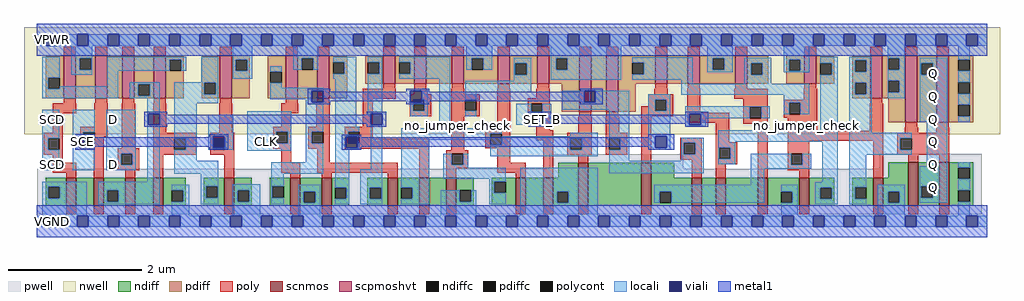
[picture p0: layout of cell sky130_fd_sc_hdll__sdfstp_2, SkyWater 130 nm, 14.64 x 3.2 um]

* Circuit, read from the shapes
.subckt sky130_fd_sc_hdll__sdfstp_2 CLK D SCD SCE SET_B VGND VNB VPB VPWR Q
XM1 n1 SCD VGND VNB sky130_fd_pr__nfet_01v8 w=0.42 l=0.15
XM2 n2 SCE n1 VNB sky130_fd_pr__nfet_01v8 w=0.42 l=0.15
XM3 n3 D n2 VNB sky130_fd_pr__nfet_01v8 w=0.42 l=0.15
XM4 VGND n4 n3 VNB sky130_fd_pr__nfet_01v8 w=0.42 l=0.15
XM5 VGND SCE n4 VNB sky130_fd_pr__nfet_01v8 w=0.42 l=0.15
XM6 VGND CLK n5 VNB sky130_fd_pr__nfet_01v8 w=0.42 l=0.15
XM7 n6 n5 VGND VNB sky130_fd_pr__nfet_01v8 w=0.42 l=0.15
XM8 n7 n5 n2 VNB sky130_fd_pr__nfet_01v8 w=0.42 l=0.15
XM9 n8 n6 n7 VNB sky130_fd_pr__nfet_01v8 w=0.42 l=0.15
XM10 VGND n9 n8 VNB sky130_fd_pr__nfet_01v8 w=0.42 l=0.15
XM11 n10 n7 n9 VNB sky130_fd_pr__nfet_01v8 w=0.42 l=0.15
XM12 VGND SET_B n10 VNB sky130_fd_pr__nfet_01v8 w=0.42 l=0.15
XM13 n11 n7 VGND VNB sky130_fd_pr__nfet_01v8 w=0.64 l=0.15
XM14 n12 n6 n11 VNB sky130_fd_pr__nfet_01v8 w=0.64 l=0.15
XM15 n13 n5 n12 VNB sky130_fd_pr__nfet_01v8 w=0.42 l=0.15
XM16 n14 n15 n13 VNB sky130_fd_pr__nfet_01v8 w=0.42 l=0.15
XM17 VGND SET_B n14 VNB sky130_fd_pr__nfet_01v8 w=0.42 l=0.15
XM18 n15 n12 VGND VNB sky130_fd_pr__nfet_01v8 w=0.42 l=0.15
XM19 VGND n12 n16 VNB sky130_fd_pr__nfet_01v8 w=0.42 l=0.15
XM20 Q n16 VGND VNB sky130_fd_pr__nfet_01v8 w=0.65 l=0.15 m=2
XM21 VPWR SCD n17 VPB sky130_fd_pr__pfet_01v8_hvt w=0.64 l=0.18
XM22 n18 SCE VPWR VPB sky130_fd_pr__pfet_01v8_hvt w=0.64 l=0.18
XM23 n2 D n18 VPB sky130_fd_pr__pfet_01v8_hvt w=0.64 l=0.18
XM24 n17 n4 n2 VPB sky130_fd_pr__pfet_01v8_hvt w=0.64 l=0.18
XM25 VPWR SCE n4 VPB sky130_fd_pr__pfet_01v8_hvt w=0.64 l=0.18
XM26 VPWR CLK n5 VPB sky130_fd_pr__pfet_01v8_hvt w=0.64 l=0.18
XM27 n6 n5 VPWR VPB sky130_fd_pr__pfet_01v8_hvt w=0.64 l=0.18
XM28 n7 n6 n2 VPB sky130_fd_pr__pfet_01v8_hvt w=0.42 l=0.18
XM29 n19 n5 n7 VPB sky130_fd_pr__pfet_01v8_hvt w=0.42 l=0.18
XM30 VPWR n9 n19 VPB sky130_fd_pr__pfet_01v8_hvt w=0.42 l=0.18
XM31 n9 n7 VPWR VPB sky130_fd_pr__pfet_01v8_hvt w=0.42 l=0.18
XM32 VPWR SET_B n9 VPB sky130_fd_pr__pfet_01v8_hvt w=0.42 l=0.18
XM33 n20 n7 VPWR VPB sky130_fd_pr__pfet_01v8_hvt w=0.84 l=0.18
XM34 n12 n5 n20 VPB sky130_fd_pr__pfet_01v8_hvt w=0.84 l=0.18
XM35 n21 n6 n12 VPB sky130_fd_pr__pfet_01v8_hvt w=0.42 l=0.18
XM36 VPWR n15 n21 VPB sky130_fd_pr__pfet_01v8_hvt w=0.42 l=0.18
XM37 n12 SET_B VPWR VPB sky130_fd_pr__pfet_01v8_hvt w=0.42 l=0.18
XM38 n15 n12 VPWR VPB sky130_fd_pr__pfet_01v8_hvt w=0.42 l=0.18
XM39 VPWR n12 n16 VPB sky130_fd_pr__pfet_01v8_hvt w=0.64 l=0.18
XM40 Q n16 VPWR VPB sky130_fd_pr__pfet_01v8_hvt w=1 l=0.18 m=2
.ends

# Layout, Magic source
magic
tech sky130A
magscale 1 2
<< nwell >>
rect -38 261 2890 582
<< pwell >>
rect 1538 157 1939 201
rect 2528 157 2835 203
rect 1 21 2835 157
rect 29 -17 63 21
<< scnmos >>
rect 89 47 119 131
rect 171 47 201 131
rect 265 47 295 131
rect 349 47 379 131
rect 563 47 593 131
rect 761 47 791 131
rect 855 47 885 131
rect 1053 47 1083 131
rect 1147 47 1177 131
rect 1229 47 1259 131
rect 1437 47 1467 131
rect 1519 47 1549 131
rect 1624 47 1654 175
rect 1813 47 1843 175
rect 1965 47 1995 131
rect 2037 47 2067 131
rect 2163 47 2193 131
rect 2287 47 2317 131
rect 2509 47 2539 131
rect 2614 47 2644 177
rect 2708 47 2738 177
<< scpmoshvt >>
rect 81 369 117 497
rect 175 369 211 497
rect 257 369 293 497
rect 351 369 387 497
rect 549 369 585 497
rect 747 369 783 497
rect 841 369 877 497
rect 1039 413 1075 497
rect 1133 413 1169 497
rect 1245 413 1281 497
rect 1383 413 1419 497
rect 1501 413 1537 497
rect 1627 329 1663 497
rect 1709 329 1745 497
rect 1855 413 1891 497
rect 1953 413 1989 497
rect 2095 413 2131 497
rect 2303 413 2339 497
rect 2501 369 2537 497
rect 2606 297 2642 497
rect 2700 297 2736 497
<< ndiff >>
rect 1564 131 1624 175
rect 27 103 89 131
rect 27 69 35 103
rect 69 69 89 103
rect 27 47 89 69
rect 119 47 171 131
rect 201 93 265 131
rect 201 59 211 93
rect 245 59 265 93
rect 201 47 265 59
rect 295 47 349 131
rect 379 93 447 131
rect 379 59 405 93
rect 439 59 447 93
rect 379 47 447 59
rect 501 105 563 131
rect 501 71 509 105
rect 543 71 563 105
rect 501 47 563 71
rect 593 93 645 131
rect 593 59 603 93
rect 637 59 645 93
rect 593 47 645 59
rect 699 105 761 131
rect 699 71 707 105
rect 741 71 761 105
rect 699 47 761 71
rect 791 89 855 131
rect 791 55 801 89
rect 835 55 855 89
rect 791 47 855 55
rect 885 101 937 131
rect 885 67 895 101
rect 929 67 937 101
rect 885 47 937 67
rect 991 101 1053 131
rect 991 67 999 101
rect 1033 67 1053 101
rect 991 47 1053 67
rect 1083 101 1147 131
rect 1083 67 1093 101
rect 1127 67 1147 101
rect 1083 47 1147 67
rect 1177 47 1229 131
rect 1259 93 1311 131
rect 1259 59 1269 93
rect 1303 59 1311 93
rect 1259 47 1311 59
rect 1365 119 1437 131
rect 1365 85 1373 119
rect 1407 85 1437 119
rect 1365 47 1437 85
rect 1467 47 1519 131
rect 1549 89 1624 131
rect 1549 55 1561 89
rect 1595 55 1624 89
rect 1549 47 1624 55
rect 1654 47 1813 175
rect 1843 131 1913 175
rect 2554 131 2614 177
rect 1843 89 1965 131
rect 1843 55 1869 89
rect 1903 55 1965 89
rect 1843 47 1965 55
rect 1995 47 2037 131
rect 2067 47 2163 131
rect 2193 89 2287 131
rect 2193 55 2233 89
rect 2267 55 2287 89
rect 2193 47 2287 55
rect 2317 101 2393 131
rect 2317 67 2351 101
rect 2385 67 2393 101
rect 2317 47 2393 67
rect 2447 102 2509 131
rect 2447 68 2455 102
rect 2489 68 2509 102
rect 2447 47 2509 68
rect 2539 89 2614 131
rect 2539 55 2554 89
rect 2588 55 2614 89
rect 2539 47 2614 55
rect 2644 105 2708 177
rect 2644 71 2654 105
rect 2688 71 2708 105
rect 2644 47 2708 71
rect 2738 161 2809 177
rect 2738 127 2765 161
rect 2799 127 2809 161
rect 2738 93 2809 127
rect 2738 59 2765 93
rect 2799 59 2809 93
rect 2738 47 2809 59
<< pdiff >>
rect 27 431 81 497
rect 27 397 35 431
rect 69 397 81 431
rect 27 369 81 397
rect 117 489 175 497
rect 117 455 129 489
rect 163 455 175 489
rect 117 369 175 455
rect 211 369 257 497
rect 293 411 351 497
rect 293 377 305 411
rect 339 377 351 411
rect 293 369 351 377
rect 387 485 441 497
rect 387 451 399 485
rect 433 451 441 485
rect 387 369 441 451
rect 495 415 549 497
rect 495 381 503 415
rect 537 381 549 415
rect 495 369 549 381
rect 585 485 639 497
rect 585 451 597 485
rect 631 451 639 485
rect 585 369 639 451
rect 693 449 747 497
rect 693 415 701 449
rect 735 415 747 449
rect 693 369 747 415
rect 783 489 841 497
rect 783 455 795 489
rect 829 455 841 489
rect 783 369 841 455
rect 877 477 931 497
rect 877 443 889 477
rect 923 443 931 477
rect 877 369 931 443
rect 985 477 1039 497
rect 985 443 993 477
rect 1027 443 1039 477
rect 985 413 1039 443
rect 1075 477 1133 497
rect 1075 443 1087 477
rect 1121 443 1133 477
rect 1075 413 1133 443
rect 1169 413 1245 497
rect 1281 489 1383 497
rect 1281 455 1305 489
rect 1339 455 1383 489
rect 1281 413 1383 455
rect 1419 474 1501 497
rect 1419 440 1436 474
rect 1470 440 1501 474
rect 1419 413 1501 440
rect 1537 489 1627 497
rect 1537 455 1558 489
rect 1592 455 1627 489
rect 1537 413 1627 455
rect 1575 329 1627 413
rect 1663 329 1709 497
rect 1745 475 1855 497
rect 1745 441 1787 475
rect 1821 441 1855 475
rect 1745 413 1855 441
rect 1891 413 1953 497
rect 1989 489 2095 497
rect 1989 455 2028 489
rect 2062 455 2095 489
rect 1989 413 2095 455
rect 2131 474 2195 497
rect 2131 440 2143 474
rect 2177 440 2195 474
rect 2131 413 2195 440
rect 2249 485 2303 497
rect 2249 451 2257 485
rect 2291 451 2303 485
rect 2249 413 2303 451
rect 2339 474 2393 497
rect 2339 440 2351 474
rect 2385 440 2393 474
rect 2339 413 2393 440
rect 2447 483 2501 497
rect 2447 449 2455 483
rect 2489 449 2501 483
rect 2447 415 2501 449
rect 1745 329 1797 413
rect 2447 381 2455 415
rect 2489 381 2501 415
rect 2447 369 2501 381
rect 2537 489 2606 497
rect 2537 455 2554 489
rect 2588 455 2606 489
rect 2537 421 2606 455
rect 2537 387 2554 421
rect 2588 387 2606 421
rect 2537 369 2606 387
rect 2554 297 2606 369
rect 2642 474 2700 497
rect 2642 440 2654 474
rect 2688 440 2700 474
rect 2642 297 2700 440
rect 2736 485 2809 497
rect 2736 451 2765 485
rect 2799 451 2809 485
rect 2736 417 2809 451
rect 2736 383 2765 417
rect 2799 383 2809 417
rect 2736 349 2809 383
rect 2736 315 2765 349
rect 2799 315 2809 349
rect 2736 297 2809 315
<< ndiffc >>
rect 35 69 69 103
rect 211 59 245 93
rect 405 59 439 93
rect 509 71 543 105
rect 603 59 637 93
rect 707 71 741 105
rect 801 55 835 89
rect 895 67 929 101
rect 999 67 1033 101
rect 1093 67 1127 101
rect 1269 59 1303 93
rect 1373 85 1407 119
rect 1561 55 1595 89
rect 1869 55 1903 89
rect 2233 55 2267 89
rect 2351 67 2385 101
rect 2455 68 2489 102
rect 2554 55 2588 89
rect 2654 71 2688 105
rect 2765 127 2799 161
rect 2765 59 2799 93
<< pdiffc >>
rect 35 397 69 431
rect 129 455 163 489
rect 305 377 339 411
rect 399 451 433 485
rect 503 381 537 415
rect 597 451 631 485
rect 701 415 735 449
rect 795 455 829 489
rect 889 443 923 477
rect 993 443 1027 477
rect 1087 443 1121 477
rect 1305 455 1339 489
rect 1436 440 1470 474
rect 1558 455 1592 489
rect 1787 441 1821 475
rect 2028 455 2062 489
rect 2143 440 2177 474
rect 2257 451 2291 485
rect 2351 440 2385 474
rect 2455 449 2489 483
rect 2455 381 2489 415
rect 2554 455 2588 489
rect 2554 387 2588 421
rect 2654 440 2688 474
rect 2765 451 2799 485
rect 2765 383 2799 417
rect 2765 315 2799 349
<< poly >>
rect 81 497 117 523
rect 175 497 211 523
rect 257 497 293 523
rect 351 497 387 523
rect 549 497 585 523
rect 747 497 783 523
rect 841 497 877 523
rect 1039 497 1075 523
rect 1133 497 1169 523
rect 1245 497 1281 523
rect 1383 497 1419 523
rect 1501 497 1537 523
rect 1627 497 1663 523
rect 1709 497 1745 523
rect 1855 497 1891 523
rect 1953 497 1989 523
rect 2095 497 2131 523
rect 2303 497 2339 523
rect 2501 497 2537 523
rect 2606 497 2642 523
rect 2700 497 2736 523
rect 1039 398 1075 413
rect 1133 398 1169 413
rect 1245 398 1281 413
rect 1383 398 1419 413
rect 1501 398 1537 413
rect 81 354 117 369
rect 175 354 211 369
rect 257 354 293 369
rect 351 354 387 369
rect 549 354 585 369
rect 747 354 783 369
rect 841 354 877 369
rect 978 368 1077 398
rect 1131 381 1171 398
rect 1243 381 1283 398
rect 48 324 119 354
rect 48 265 78 324
rect 173 283 213 354
rect 21 249 78 265
rect 21 215 34 249
rect 68 215 78 249
rect 130 267 213 283
rect 130 233 140 267
rect 174 253 213 267
rect 174 233 201 253
rect 130 217 201 233
rect 255 219 295 354
rect 349 265 389 354
rect 547 265 587 354
rect 733 324 785 354
rect 733 284 763 324
rect 839 284 879 354
rect 978 284 1008 368
rect 1119 365 1183 381
rect 1119 331 1129 365
rect 1163 331 1183 365
rect 1119 315 1183 331
rect 1243 365 1329 381
rect 1243 331 1285 365
rect 1319 331 1329 365
rect 1243 315 1329 331
rect 709 268 763 284
rect 349 249 478 265
rect 21 199 78 215
rect 48 176 78 199
rect 48 146 119 176
rect 89 131 119 146
rect 171 131 201 217
rect 243 203 307 219
rect 243 169 253 203
rect 287 169 307 203
rect 243 153 307 169
rect 349 215 413 249
rect 447 215 478 249
rect 349 199 478 215
rect 520 249 593 265
rect 520 215 530 249
rect 564 215 593 249
rect 709 234 719 268
rect 753 234 763 268
rect 709 218 763 234
rect 815 268 879 284
rect 815 234 825 268
rect 859 234 879 268
rect 815 218 879 234
rect 924 268 1008 284
rect 924 234 934 268
rect 968 248 1008 268
rect 968 234 1177 248
rect 924 218 1177 234
rect 520 199 593 215
rect 265 131 295 153
rect 349 131 379 199
rect 563 131 593 199
rect 733 176 763 218
rect 842 176 879 218
rect 733 146 791 176
rect 842 146 1083 176
rect 761 131 791 146
rect 855 131 885 146
rect 1053 131 1083 146
rect 1147 131 1177 218
rect 1243 213 1283 315
rect 1381 273 1421 398
rect 1499 369 1539 398
rect 1473 353 1539 369
rect 1473 319 1483 353
rect 1517 319 1539 353
rect 1855 398 1891 413
rect 1953 398 1989 413
rect 2095 398 2131 413
rect 2303 398 2339 413
rect 1853 381 1893 398
rect 1835 365 1909 381
rect 1835 345 1855 365
rect 1813 331 1855 345
rect 1889 331 1909 365
rect 1473 303 1539 319
rect 1627 314 1663 329
rect 1709 314 1745 329
rect 1813 315 1909 331
rect 1951 325 1991 398
rect 2093 397 2133 398
rect 2093 367 2193 397
rect 2119 343 2193 367
rect 2301 365 2341 398
rect 1345 263 1421 273
rect 1345 229 1361 263
rect 1395 229 1421 263
rect 1499 273 1539 303
rect 1499 243 1549 273
rect 1625 265 1665 314
rect 1345 219 1421 229
rect 1229 203 1295 213
rect 1229 169 1245 203
rect 1279 169 1295 203
rect 1229 159 1295 169
rect 1381 176 1421 219
rect 1229 131 1259 159
rect 1381 146 1467 176
rect 1437 131 1467 146
rect 1519 131 1549 243
rect 1591 249 1665 265
rect 1591 215 1601 249
rect 1635 215 1665 249
rect 1591 199 1665 215
rect 1707 265 1747 314
rect 1707 249 1771 265
rect 1707 215 1717 249
rect 1751 215 1771 249
rect 1707 199 1771 215
rect 1624 175 1654 199
rect 1813 175 1843 315
rect 1951 295 2077 325
rect 1931 235 1995 251
rect 1931 201 1941 235
rect 1975 201 1995 235
rect 1931 185 1995 201
rect 1965 131 1995 185
rect 2037 237 2077 295
rect 2119 309 2139 343
rect 2173 309 2193 343
rect 2241 355 2341 365
rect 2241 321 2257 355
rect 2291 321 2341 355
rect 2501 354 2537 369
rect 2241 311 2341 321
rect 2119 293 2193 309
rect 2037 221 2101 237
rect 2037 187 2047 221
rect 2081 187 2101 221
rect 2037 171 2101 187
rect 2037 131 2067 171
rect 2163 131 2193 293
rect 2253 271 2341 311
rect 2499 271 2539 354
rect 2606 282 2642 297
rect 2700 282 2736 297
rect 2253 241 2539 271
rect 2604 265 2644 282
rect 2698 265 2738 282
rect 2253 203 2317 241
rect 2253 169 2263 203
rect 2297 169 2317 203
rect 2253 153 2317 169
rect 2287 131 2317 153
rect 2509 131 2539 241
rect 2581 249 2738 265
rect 2581 215 2591 249
rect 2625 215 2738 249
rect 2581 199 2738 215
rect 2614 177 2644 199
rect 2708 177 2738 199
rect 89 21 119 47
rect 171 21 201 47
rect 265 21 295 47
rect 349 21 379 47
rect 563 21 593 47
rect 761 21 791 47
rect 855 21 885 47
rect 1053 21 1083 47
rect 1147 21 1177 47
rect 1229 21 1259 47
rect 1437 21 1467 47
rect 1519 21 1549 47
rect 1624 21 1654 47
rect 1813 21 1843 47
rect 1965 21 1995 47
rect 2037 21 2067 47
rect 2163 21 2193 47
rect 2287 21 2317 47
rect 2509 21 2539 47
rect 2614 21 2644 47
rect 2708 21 2738 47
<< polycont >>
rect 34 215 68 249
rect 140 233 174 267
rect 1129 331 1163 365
rect 1285 331 1319 365
rect 253 169 287 203
rect 413 215 447 249
rect 530 215 564 249
rect 719 234 753 268
rect 825 234 859 268
rect 934 234 968 268
rect 1483 319 1517 353
rect 1855 331 1889 365
rect 1361 229 1395 263
rect 1245 169 1279 203
rect 1601 215 1635 249
rect 1717 215 1751 249
rect 1941 201 1975 235
rect 2139 309 2173 343
rect 2257 321 2291 355
rect 2047 187 2081 221
rect 2263 169 2297 203
rect 2591 215 2625 249
<< locali >>
rect 0 527 29 561
rect 63 527 121 561
rect 155 527 213 561
rect 247 527 305 561
rect 339 527 397 561
rect 431 527 489 561
rect 523 527 581 561
rect 615 527 673 561
rect 707 527 765 561
rect 799 527 857 561
rect 891 527 949 561
rect 983 527 1041 561
rect 1075 527 1133 561
rect 1167 527 1225 561
rect 1259 527 1317 561
rect 1351 527 1409 561
rect 1443 527 1501 561
rect 1535 527 1593 561
rect 1627 527 1685 561
rect 1719 527 1777 561
rect 1811 527 1869 561
rect 1903 527 1961 561
rect 1995 527 2053 561
rect 2087 527 2145 561
rect 2179 527 2237 561
rect 2271 527 2329 561
rect 2363 527 2421 561
rect 2455 527 2513 561
rect 2547 527 2605 561
rect 2639 527 2697 561
rect 2731 527 2789 561
rect 2823 527 2852 561
rect 17 431 69 493
rect 103 489 167 527
rect 103 455 129 489
rect 163 455 167 489
rect 103 439 167 455
rect 211 485 449 493
rect 211 451 399 485
rect 433 451 449 485
rect 17 397 35 431
rect 211 405 245 451
rect 494 417 544 493
rect 588 485 647 527
rect 588 451 597 485
rect 631 451 647 485
rect 769 489 845 527
rect 588 428 647 451
rect 701 449 735 465
rect 769 455 795 489
rect 829 455 845 489
rect 889 477 958 493
rect 69 397 245 405
rect 17 369 245 397
rect 279 411 369 417
rect 279 377 305 411
rect 339 377 369 411
rect 279 369 369 377
rect 17 249 68 335
rect 17 215 34 249
rect 17 153 68 215
rect 108 267 174 335
rect 108 255 140 267
rect 108 221 128 255
rect 162 221 174 233
rect 108 153 174 221
rect 208 203 297 335
rect 208 169 253 203
rect 287 169 297 203
rect 208 153 297 169
rect 331 323 369 369
rect 331 289 335 323
rect 331 119 369 289
rect 413 415 544 417
rect 413 381 503 415
rect 537 381 544 415
rect 413 354 544 381
rect 923 443 958 477
rect 889 427 958 443
rect 701 400 735 415
rect 701 391 859 400
rect 701 366 825 391
rect 807 357 825 366
rect 413 249 480 354
rect 447 215 480 249
rect 514 255 590 320
rect 514 221 529 255
rect 563 249 590 255
rect 514 215 530 221
rect 564 215 590 249
rect 631 268 763 330
rect 631 234 719 268
rect 753 234 763 268
rect 413 181 480 215
rect 631 211 763 234
rect 807 268 859 357
rect 807 234 825 268
rect 413 143 544 181
rect 807 177 859 234
rect 17 103 150 119
rect 17 69 35 103
rect 69 69 150 103
rect 17 17 150 69
rect 184 93 369 119
rect 184 59 211 93
rect 245 59 369 93
rect 184 51 369 59
rect 405 93 458 109
rect 439 59 458 93
rect 405 17 458 59
rect 492 105 544 143
rect 704 143 859 177
rect 895 284 958 427
rect 993 477 1036 493
rect 1027 443 1036 477
rect 993 323 1036 443
rect 1087 477 1241 493
rect 1121 443 1241 477
rect 1289 489 1366 527
rect 1289 455 1305 489
rect 1339 455 1366 489
rect 1431 474 1484 490
rect 1087 427 1241 443
rect 993 318 1002 323
rect 1155 365 1173 391
rect 1121 331 1129 357
rect 1163 331 1173 365
rect 1121 315 1173 331
rect 895 268 968 284
rect 895 254 934 268
rect 895 220 927 254
rect 961 220 968 234
rect 895 217 968 220
rect 492 71 509 105
rect 543 71 544 105
rect 492 51 544 71
rect 588 93 670 111
rect 588 59 603 93
rect 637 59 670 93
rect 588 17 670 59
rect 704 105 741 143
rect 704 71 707 105
rect 704 51 741 71
rect 785 89 851 109
rect 785 55 801 89
rect 835 55 851 89
rect 785 17 851 55
rect 895 101 937 217
rect 1002 156 1036 289
rect 1207 279 1241 427
rect 1431 440 1436 474
rect 1470 440 1484 474
rect 1431 421 1484 440
rect 1542 489 1753 527
rect 1542 455 1558 489
rect 1592 455 1753 489
rect 1542 425 1753 455
rect 1787 475 1968 492
rect 1821 441 1968 475
rect 2012 489 2088 527
rect 2012 455 2028 489
rect 2062 455 2088 489
rect 2012 447 2088 455
rect 2122 474 2203 490
rect 1787 425 1968 441
rect 1285 387 1484 421
rect 1934 413 1968 425
rect 2122 440 2143 474
rect 2177 440 2203 474
rect 2241 485 2317 527
rect 2241 451 2257 485
rect 2291 451 2317 485
rect 2241 447 2317 451
rect 2351 474 2403 493
rect 2122 413 2203 440
rect 2385 440 2403 474
rect 1285 365 1319 387
rect 1577 357 1642 391
rect 1676 357 1777 391
rect 1285 315 1319 331
rect 1438 319 1483 353
rect 1517 323 1543 353
rect 1577 334 1777 357
rect 1438 289 1487 319
rect 1521 289 1543 323
rect 929 67 937 101
rect 895 51 937 67
rect 971 101 1036 156
rect 971 67 999 101
rect 1033 67 1036 101
rect 971 51 1036 67
rect 1093 263 1395 279
rect 1093 245 1361 263
rect 1093 101 1178 245
rect 1601 255 1683 265
rect 1395 249 1683 255
rect 1395 229 1601 249
rect 1361 215 1601 229
rect 1635 215 1683 249
rect 1219 169 1245 203
rect 1279 169 1295 203
rect 1361 195 1683 215
rect 1717 249 1777 334
rect 1751 215 1777 249
rect 1835 365 1900 381
rect 1934 379 2317 413
rect 1835 331 1855 365
rect 1889 331 1900 365
rect 2241 355 2317 379
rect 1835 255 1900 331
rect 1946 343 2199 345
rect 1946 323 2139 343
rect 1946 289 1958 323
rect 1992 309 2139 323
rect 2173 309 2199 343
rect 2241 321 2257 355
rect 2291 321 2317 355
rect 1992 289 2007 309
rect 1946 285 2007 289
rect 2351 273 2403 440
rect 1835 221 1856 255
rect 1890 221 1900 255
rect 1835 215 1900 221
rect 1934 235 2001 251
rect 1219 161 1295 169
rect 1717 181 1777 215
rect 1934 201 1941 235
rect 1975 201 2001 235
rect 1934 181 2001 201
rect 1219 127 1407 161
rect 1127 67 1178 101
rect 1357 119 1407 127
rect 1093 51 1178 67
rect 1212 59 1269 93
rect 1303 59 1319 93
rect 1212 17 1319 59
rect 1357 85 1373 119
rect 1357 51 1407 85
rect 1451 89 1683 161
rect 1717 144 2001 181
rect 2044 239 2403 273
rect 2044 221 2096 239
rect 2044 187 2047 221
rect 2081 187 2096 221
rect 2044 171 2096 187
rect 2142 169 2263 203
rect 2297 169 2323 203
rect 2142 157 2323 169
rect 2142 109 2182 157
rect 2357 117 2403 239
rect 1451 55 1561 89
rect 1595 55 1683 89
rect 1853 89 2182 109
rect 1853 55 1869 89
rect 1903 55 2182 89
rect 2233 89 2283 109
rect 2267 55 2283 89
rect 1451 17 1683 55
rect 2233 17 2283 55
rect 2335 101 2403 117
rect 2335 67 2351 101
rect 2385 67 2403 101
rect 2335 51 2403 67
rect 2437 483 2505 493
rect 2437 449 2455 483
rect 2489 449 2505 483
rect 2437 415 2505 449
rect 2437 381 2455 415
rect 2489 381 2505 415
rect 2437 265 2505 381
rect 2553 489 2604 527
rect 2553 455 2554 489
rect 2588 455 2604 489
rect 2553 421 2604 455
rect 2553 387 2554 421
rect 2588 387 2604 421
rect 2553 369 2604 387
rect 2649 474 2731 490
rect 2649 440 2654 474
rect 2688 440 2731 474
rect 2649 299 2731 440
rect 2765 485 2799 527
rect 2765 417 2799 451
rect 2765 349 2799 383
rect 2765 299 2799 315
rect 2437 249 2625 265
rect 2437 215 2591 249
rect 2437 199 2625 215
rect 2437 102 2489 199
rect 2670 165 2731 299
rect 2437 68 2455 102
rect 2437 51 2489 68
rect 2523 89 2604 110
rect 2523 55 2554 89
rect 2588 55 2604 89
rect 2649 105 2731 165
rect 2649 71 2654 105
rect 2688 71 2731 105
rect 2649 55 2731 71
rect 2765 161 2799 177
rect 2765 93 2799 127
rect 2523 17 2604 55
rect 2765 17 2799 59
rect 0 -17 29 17
rect 63 -17 121 17
rect 155 -17 213 17
rect 247 -17 305 17
rect 339 -17 397 17
rect 431 -17 489 17
rect 523 -17 581 17
rect 615 -17 673 17
rect 707 -17 765 17
rect 799 -17 857 17
rect 891 -17 949 17
rect 983 -17 1041 17
rect 1075 -17 1133 17
rect 1167 -17 1225 17
rect 1259 -17 1317 17
rect 1351 -17 1409 17
rect 1443 -17 1501 17
rect 1535 -17 1593 17
rect 1627 -17 1685 17
rect 1719 -17 1777 17
rect 1811 -17 1869 17
rect 1903 -17 1961 17
rect 1995 -17 2053 17
rect 2087 -17 2145 17
rect 2179 -17 2237 17
rect 2271 -17 2329 17
rect 2363 -17 2421 17
rect 2455 -17 2513 17
rect 2547 -17 2605 17
rect 2639 -17 2697 17
rect 2731 -17 2789 17
rect 2823 -17 2852 17
<< viali >>
rect 29 527 63 561
rect 121 527 155 561
rect 213 527 247 561
rect 305 527 339 561
rect 397 527 431 561
rect 489 527 523 561
rect 581 527 615 561
rect 673 527 707 561
rect 765 527 799 561
rect 857 527 891 561
rect 949 527 983 561
rect 1041 527 1075 561
rect 1133 527 1167 561
rect 1225 527 1259 561
rect 1317 527 1351 561
rect 1409 527 1443 561
rect 1501 527 1535 561
rect 1593 527 1627 561
rect 1685 527 1719 561
rect 1777 527 1811 561
rect 1869 527 1903 561
rect 1961 527 1995 561
rect 2053 527 2087 561
rect 2145 527 2179 561
rect 2237 527 2271 561
rect 2329 527 2363 561
rect 2421 527 2455 561
rect 2513 527 2547 561
rect 2605 527 2639 561
rect 2697 527 2731 561
rect 2789 527 2823 561
rect 128 233 140 255
rect 140 233 162 255
rect 128 221 162 233
rect 335 289 369 323
rect 825 357 859 391
rect 529 249 563 255
rect 529 221 530 249
rect 530 221 563 249
rect 1002 289 1036 323
rect 1121 365 1155 391
rect 1121 357 1129 365
rect 1129 357 1155 365
rect 927 234 934 254
rect 934 234 961 254
rect 927 220 961 234
rect 1642 357 1676 391
rect 1487 319 1517 323
rect 1517 319 1521 323
rect 1487 289 1521 319
rect 1958 289 1992 323
rect 1856 221 1890 255
rect 29 -17 63 17
rect 121 -17 155 17
rect 213 -17 247 17
rect 305 -17 339 17
rect 397 -17 431 17
rect 489 -17 523 17
rect 581 -17 615 17
rect 673 -17 707 17
rect 765 -17 799 17
rect 857 -17 891 17
rect 949 -17 983 17
rect 1041 -17 1075 17
rect 1133 -17 1167 17
rect 1225 -17 1259 17
rect 1317 -17 1351 17
rect 1409 -17 1443 17
rect 1501 -17 1535 17
rect 1593 -17 1627 17
rect 1685 -17 1719 17
rect 1777 -17 1811 17
rect 1869 -17 1903 17
rect 1961 -17 1995 17
rect 2053 -17 2087 17
rect 2145 -17 2179 17
rect 2237 -17 2271 17
rect 2329 -17 2363 17
rect 2421 -17 2455 17
rect 2513 -17 2547 17
rect 2605 -17 2639 17
rect 2697 -17 2731 17
rect 2789 -17 2823 17
<< metal1 >>
rect 0 561 2852 592
rect 0 527 29 561
rect 63 527 121 561
rect 155 527 213 561
rect 247 527 305 561
rect 339 527 397 561
rect 431 527 489 561
rect 523 527 581 561
rect 615 527 673 561
rect 707 527 765 561
rect 799 527 857 561
rect 891 527 949 561
rect 983 527 1041 561
rect 1075 527 1133 561
rect 1167 527 1225 561
rect 1259 527 1317 561
rect 1351 527 1409 561
rect 1443 527 1501 561
rect 1535 527 1593 561
rect 1627 527 1685 561
rect 1719 527 1777 561
rect 1811 527 1869 561
rect 1903 527 1961 561
rect 1995 527 2053 561
rect 2087 527 2145 561
rect 2179 527 2237 561
rect 2271 527 2329 561
rect 2363 527 2421 561
rect 2455 527 2513 561
rect 2547 527 2605 561
rect 2639 527 2697 561
rect 2731 527 2789 561
rect 2823 527 2852 561
rect 0 496 2852 527
rect 813 391 881 397
rect 813 357 825 391
rect 859 388 881 391
rect 1109 391 1177 397
rect 1109 388 1121 391
rect 859 360 1121 388
rect 859 357 881 360
rect 813 351 881 357
rect 1109 357 1121 360
rect 1155 388 1177 391
rect 1630 391 1698 397
rect 1630 388 1642 391
rect 1155 360 1642 388
rect 1155 357 1177 360
rect 1109 351 1177 357
rect 1630 357 1642 360
rect 1676 357 1698 391
rect 1630 351 1698 357
rect 323 323 391 329
rect 323 289 335 323
rect 369 320 391 323
rect 990 323 1048 329
rect 990 320 1002 323
rect 369 292 1002 320
rect 369 289 391 292
rect 323 283 391 289
rect 990 289 1002 292
rect 1036 289 1048 323
rect 990 283 1048 289
rect 1475 323 1543 329
rect 1475 289 1487 323
rect 1521 320 1543 323
rect 1946 323 2014 329
rect 1946 320 1958 323
rect 1521 292 1958 320
rect 1521 289 1543 292
rect 1475 283 1543 289
rect 1946 289 1958 292
rect 1992 289 2014 323
rect 1946 283 2014 289
rect 116 255 174 261
rect 116 221 128 255
rect 162 252 174 255
rect 517 255 575 261
rect 517 252 529 255
rect 162 224 529 252
rect 162 221 174 224
rect 116 215 174 221
rect 517 221 529 224
rect 563 221 575 255
rect 517 215 575 221
rect 915 254 973 260
rect 915 220 927 254
rect 961 252 973 254
rect 1834 255 1912 261
rect 1834 252 1856 255
rect 961 224 1856 252
rect 961 220 973 224
rect 915 214 973 220
rect 1834 221 1856 224
rect 1890 221 1912 255
rect 1834 215 1912 221
rect 0 17 2852 48
rect 0 -17 29 17
rect 63 -17 121 17
rect 155 -17 213 17
rect 247 -17 305 17
rect 339 -17 397 17
rect 431 -17 489 17
rect 523 -17 581 17
rect 615 -17 673 17
rect 707 -17 765 17
rect 799 -17 857 17
rect 891 -17 949 17
rect 983 -17 1041 17
rect 1075 -17 1133 17
rect 1167 -17 1225 17
rect 1259 -17 1317 17
rect 1351 -17 1409 17
rect 1443 -17 1501 17
rect 1535 -17 1593 17
rect 1627 -17 1685 17
rect 1719 -17 1777 17
rect 1811 -17 1869 17
rect 1903 -17 1961 17
rect 1995 -17 2053 17
rect 2087 -17 2145 17
rect 2179 -17 2237 17
rect 2271 -17 2329 17
rect 2363 -17 2421 17
rect 2455 -17 2513 17
rect 2547 -17 2605 17
rect 2639 -17 2697 17
rect 2731 -17 2789 17
rect 2823 -17 2852 17
rect 0 -48 2852 -17
<< labels >>
flabel locali s 2673 289 2707 323 0 FreeSans 200 0 0 0 Q
port 10 nsew signal output
flabel locali s 2673 85 2707 119 0 FreeSans 200 0 0 0 Q
port 10 nsew signal output
flabel locali s 2673 153 2707 187 0 FreeSans 200 0 0 0 Q
port 10 nsew signal output
flabel locali s 2673 221 2707 255 0 FreeSans 200 0 0 0 Q
port 10 nsew signal output
flabel locali s 2673 425 2707 459 0 FreeSans 200 0 0 0 Q
port 10 nsew signal output
flabel locali s 2673 357 2707 391 0 FreeSans 200 0 0 0 Q
port 10 nsew signal output
flabel locali s 29 153 63 187 0 FreeSans 200 0 0 0 SCD
port 3 nsew signal input
flabel locali s 213 289 247 323 0 FreeSans 200 0 0 0 D
port 2 nsew signal input
flabel locali s 29 289 63 323 0 FreeSans 200 0 0 0 SCD
port 3 nsew signal input
flabel locali s 213 153 247 187 0 FreeSans 200 0 0 0 D
port 2 nsew signal input
flabel locali s 673 221 707 255 0 FreeSans 200 0 0 0 CLK
port 1 nsew signal input
flabel metal1 s 1501 289 1535 323 0 FreeSans 200 0 0 0 SET_B
port 5 nsew signal input
flabel metal1 s 121 221 155 255 0 FreeSans 200 0 0 0 SCE
port 4 nsew signal input
flabel metal1 s 29 -17 63 17 0 FreeSans 200 0 0 0 VGND
port 6 nsew ground bidirectional
flabel metal1 s 29 527 63 561 0 FreeSans 200 0 0 0 VPWR
port 9 nsew power bidirectional
flabel nwell s 29 527 63 561 0 FreeSans 200 0 0 0 VPB
port 8 nsew power bidirectional
flabel pwell s 29 -17 63 17 0 FreeSans 200 0 0 0 VNB
port 7 nsew ground bidirectional
flabel comment s 2309 287 2309 287 0 FreeSans 200 0 0 0 no_jumper_check
rlabel comment s 0 0 0 0 4 sdfstp_4
flabel comment s 1263 286 1263 286 0 FreeSans 200 0 0 0 no_jumper_check
<< properties >>
string LEFsite unithd
string LEFclass CORE
string FIXED_BBOX 0 0 2852 544
string GDS_FILE $PDKPATH/libs.ref/sky130_fd_sc_hdll/gds/sky130_fd_sc_hdll.gds
string LEFsymmetry X Y R90
string GDS_END 470636
string GDS_START 450308
string LEFproperties maskLayoutSubType "abstract" prCellType "standard" originalViewName "layout"
<< end >>
